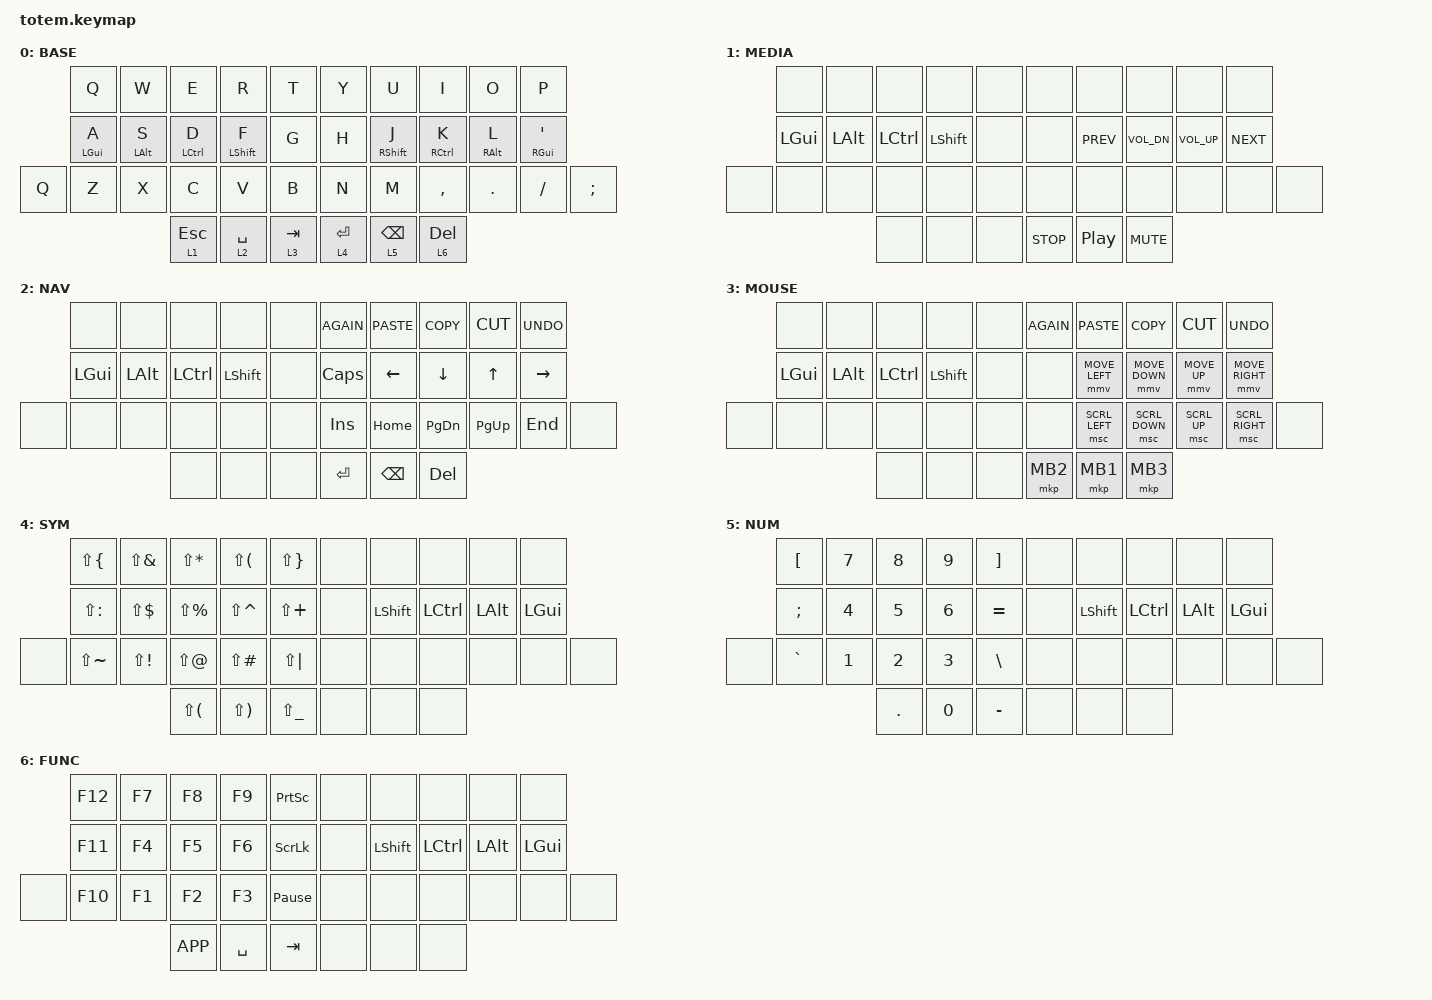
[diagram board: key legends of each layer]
//
//                                                        ▀▀▀▀▀     ▀▀▀▀▀          ▀▀█▀▀
//                                                        ▄▀▀▀▄  ▄  ▄▀▀▀▄  ▄  ▄▀▀▀▄  █  ▄▀▀▀▄
//                                                        █   █  █  █   █  █  █   █  █  █   █
//                                                         ▀▀▀   █   ▀▀▀   █   ▀▀▀   ▀   ▀▀▀
//                                                               █      ▄▄▄█▄▄▄    █   █  
//                                                               ▀      █  █  █     █▄█
//                                                             ▀▀▀▀▀    █  █  █      ▀
//                                                                      ▀  ▀  ▀
//
// ▄▄▄▄▄▄▄▄▄▄▄▄▄▄▄▄▄▄▄▄▄▄▄▄▄▄▄▄▄▄▄▄▄▄▄▄▄▄▄▄▄▄▄▄▄▄▄▄▄▄▄▄▄▄▄▄▄▄▄▄▄▄▄▄▄▄▄▄▄▄▄▄▄▄▄▄▄▄▄▄▄▄▄▄▄▄▄▄▄▄▄▄▄▄▄▄▄▄▄▄▄▄▄▄▄▄▄▄▄▄▄▄▄▄▄▄▄▄▄▄▄▄▄▄▄▄▄▄▄▄▄▄▄▄▄▄▄▄▄▄▄▄▄▄▄▄▄▄▄

#include <dt-bindings/zmk/mouse.h>
#include <behaviors.dtsi>
#include <dt-bindings/zmk/keys.h>

#define ZMK_MOUSE_DEFAULT_MOVE_VAL 1250  // 600
#define ZMK_MOUSE_DEFAULT_SCRL_VAL 100    // 10


&mmv {
    acceleration-exponent = <1>;      // 1
    time-to-max-speed-ms = <1500>;     // 300
    delay-ms = <0>;                   // 0
};

&mt { flavor = "balanced"; };

&msc {
    acceleration-exponent = <1>;      // 0
    time-to-max-speed-ms = <5000>;      // 300
    delay-ms = <0>;                   // 0
};

/ {
    combos {
        compatible = "zmk,combos";

        combo_esc {
            timeout-ms = <50>;
            key-positions = <0 1>;
            bindings = <&kp ESC>;
        };

        //            combo_tvp {
        //                timeout-ms = <100>;
        //                key-positions = <11 12 13>;
        //                bindings = <&tog TVP1>;
        //            };
    };

    macros {
        gif: gif {
            label = "giphy";
            compatible = "zmk,behavior-macro";
            #binding-cells = <0>;
            bindings =
                <&macro_press>,
                <&kp LSHFT>,
                <&macro_tap>,
                <&kp N2>,
                <&macro_release>,
                <&kp LSHFT>,
                <&macro_tap>,
                <&kp G &kp I &kp F>;
        };
    };

    keymap {
        compatible = "zmk,keymap";

        // ▄▄▄▄▄▄▄▄▄▄▄▄▄▄▄▄▄▄▄▄▄▄▄▄▄▄▄▄▄▄▄▄▄▄▄▄▄▄▄▄▄▄▄▄▄▄▄▄▄▄▄▄▄▄▄▄▄▄▄▄▄▄▄▄▄▄▄▄▄▄▄▄▄▄▄▄▄▄▄▄▄▄▄▄▄▄▄▄▄▄▄▄▄▄▄▄▄▄▄▄▄▄▄▄▄▄▄▄▄▄▄▄▄▄▄▄▄▄▄▄▄▄▄▄▄▄▄▄▄▄▄▄▄▄▄▄▄▄▄▄▄▄▄▄▄▄▄▄▄

        base_layer {
            // ┏━━━━━━━━━━━━━━━━━━━━━━━━━━━━━━━━━━━━━━━┓

            label = "BASE";

            // ┗━━━━━━━━━━━━━━━━━━━━━━━━━━━━━━━━━━━━━━━┛
            //             ┏━━━━━━━━━━━┳━━━━━━━━━━━┳━━━━━━━━━━━┳━━━━━━━━━━━┳━━━━━━━━━━━┓   ┏━━━━━━━━━━━┳━━━━━━━━━━━┳━━━━━━━━━━━┳━━━━━━━━━━━┳━━━━━━━━━━━┓
            //             ┃     Q     ┃     W     ┃     E     ┃     R     ┃     T     ┃   ┃     Y     ┃     U     ┃     I     ┃     O     ┃     P     ┃
            //             ┣━━━━━━━━━━━╋━━━━━━━━━━━╋━━━━━━━━━━━╋━━━━━━━━━━━╋━━━━━━━━━━━┫   ┣━━━━━━━━━━━╋━━━━━━━━━━━╋━━━━━━━━━━━╋━━━━━━━━━━━╋━━━━━━━━━━━┫
            //             ┃     A     ┃     S     ┃     D     ┃     F     ┃     G     ┃   ┃     H     ┃     J     ┃     K     ┃     L     ┃     ;     ┃
            // ┏━━━━━━━━━━━╋━━━━━━━━━━━╋━━━━━━━━━━━╋━━━━━━━━━━━╋━━━━━━━━━━━╋━━━━━━━━━━━┫   ┣━━━━━━━━━━━╋━━━━━━━━━━━╋━━━━━━━━━━━╋━━━━━━━━━━━╋━━━━━━━━━━━╋━━━━━━━━━━━┓
            // ┃     Q     ┃     Z     ┃     X     ┃     C     ┃     V     ┃     B     ┃   ┃     N     ┃     M     ┃     ,     ┃     .     ┃     /     ┃     \     ┃
            // ┗━━━━━━━━━━━┻━━━━━━━━━━━┻━━━━━━━━━━━╋━━━━━━━━━━━╋━━━━━━━━━━━╋━━━━━━━━━━━┫   ┣━━━━━━━━━━━╋━━━━━━━━━━━╋━━━━━━━━━━━╋━━━━━━━━━━━┻━━━━━━━━━━━┻━━━━━━━━━━━┛
            //                                     ┃  NAV/TAB  ┃    DEL    ┃    SPC    ┃   ┃   ENTER   ┃   BSPC    ┃  SYM/ESC  ┃
            //                                     ┗━━━━━━━━━━━┻━━━━━━━━━━━┻━━━━━━━━━━━┛   ┗━━━━━━━━━━━┻━━━━━━━━━━━┻━━━━━━━━━━━┛

            bindings = <
       &kp Q       &kp W       &kp E         &kp R        &kp T        &kp Y      &kp U            &kp I        &kp O       &kp P
       &mt LGUI A  &mt LALT S  &mt LCTRL D   &mt LSHFT F  &kp G        &kp H      &mt RSHFT J      &mt RCTRL K  &mt RALT L  &mt RGUI SQT
&kp Q  &kp Z       &kp X       &kp C         &kp V        &kp B        &kp N      &kp M            &kp COMMA    &kp DOT     &kp FSLH      &kp SEMICOLON
                               &lt 1 ESCAPE  &lt 2 SPACE  &lt 3 TAB    &lt 4 RET  &lt 5 BACKSPACE  &lt 6 DEL
            >;
        };

        // ▄▄▄▄▄▄▄▄▄▄▄▄▄▄▄▄▄▄▄▄▄▄▄▄▄▄▄▄▄▄▄▄▄▄▄▄▄▄▄▄▄▄▄▄▄▄▄▄▄▄▄▄▄▄▄▄▄▄▄▄▄▄▄▄▄▄▄▄▄▄▄▄▄▄▄▄▄▄▄▄▄▄▄▄▄▄▄▄▄▄▄▄▄▄▄▄▄▄▄▄▄▄▄▄▄▄▄▄▄▄▄▄▄▄▄▄▄▄▄▄▄▄▄▄▄▄▄▄▄▄▄▄▄▄▄▄▄▄▄▄▄▄▄▄▄▄▄▄▄
        // ▄▄▄▄▄▄▄▄▄▄▄▄▄▄▄▄▄▄▄▄▄▄▄▄▄▄▄▄▄▄▄▄▄▄▄▄▄▄▄▄▄▄▄▄▄▄▄▄▄▄▄▄▄▄▄▄▄▄▄▄▄▄▄▄▄▄▄▄▄▄▄▄▄▄▄▄▄▄▄▄▄▄▄▄▄▄▄▄▄▄▄▄▄▄▄▄▄▄▄▄▄▄▄▄▄▄▄▄▄▄▄▄▄▄▄▄▄▄▄▄▄▄▄▄▄▄▄▄▄▄▄▄▄▄▄▄▄▄▄▄▄▄▄▄▄▄▄▄▄
        // ▄▄▄▄▄▄▄▄▄▄▄▄▄▄▄▄▄▄▄▄▄▄▄▄▄▄▄▄▄▄▄▄▄▄▄▄▄▄▄▄▄▄▄▄▄▄▄▄▄▄▄▄▄▄▄▄▄▄▄▄▄▄▄▄▄▄▄▄▄▄▄▄▄▄▄▄▄▄▄▄▄▄▄▄▄▄▄▄▄▄▄▄▄▄▄▄▄▄▄▄▄▄▄▄▄▄▄▄▄▄▄▄▄▄▄▄▄▄▄▄▄▄▄▄▄▄▄▄▄▄▄▄▄▄▄▄▄▄▄▄▄▄▄▄▄▄▄▄▄
        // ▄▄▄▄▄▄▄▄▄▄▄▄▄▄▄▄▄▄▄▄▄▄▄▄▄▄▄▄▄▄▄▄▄▄▄▄▄▄▄▄▄▄▄▄▄▄▄▄▄▄▄▄▄▄▄▄▄▄▄▄▄▄▄▄▄▄▄▄▄▄▄▄▄▄▄▄▄▄▄▄▄▄▄▄▄▄▄▄▄▄▄▄▄▄▄▄▄▄▄▄▄▄▄▄▄▄▄▄▄▄▄▄▄▄▄▄▄▄▄▄▄▄▄▄▄▄▄▄▄▄▄▄▄▄▄▄▄▄▄▄▄▄▄▄▄▄▄▄▄
        // ▄▄▄▄▄▄▄▄▄▄▄▄▄▄▄▄▄▄▄▄▄▄▄▄▄▄▄▄▄▄▄▄▄▄▄▄▄▄▄▄▄▄▄▄▄▄▄▄▄▄▄▄▄▄▄▄▄▄▄▄▄▄▄▄▄▄▄▄▄▄▄▄▄▄▄▄▄▄▄▄▄▄▄▄▄▄▄▄▄▄▄▄▄▄▄▄▄▄▄▄▄▄▄▄▄▄▄▄▄▄▄▄▄▄▄▄▄▄▄▄▄▄▄▄▄▄▄▄▄▄▄▄▄▄▄▄▄▄▄▄▄▄▄▄▄▄▄▄▄

        Media {
            label = "MEDIA";
            bindings = <
       &none         &none         &none      &none           &none    &none       &none             &none         &none         &none
       &kp LEFT_GUI  &kp LEFT_ALT  &kp LCTRL  &kp LEFT_SHIFT  &none    &none       &kp C_PREV        &kp C_VOL_DN  &kp C_VOL_UP  &kp C_NEXT
&none  &none         &none         &none      &none           &none    &none       &none             &none         &none         &none       &none
                                   &none      &none           &none    &kp C_STOP  &kp C_PLAY_PAUSE  &kp C_MUTE
            >;
        };

        Nav {
            label = "NAV";
            bindings = <
       &none     &none     &none      &none      &none    &kp K_AGAIN   &kp K_PASTE  &kp K_COPY  &kp K_CUT  &kp K_UNDO
       &kp LGUI  &kp LALT  &kp LCTRL  &kp LSHFT  &none    &kp CAPSLOCK  &kp LEFT     &kp DOWN    &kp UP     &kp RIGHT
&none  &none     &none     &none      &none      &none    &kp INSERT    &kp HOME     &kp PG_DN   &kp PG_UP  &kp END     &none
                           &none      &none      &none    &kp RET       &kp BSPC     &kp DEL
            >;
        };

        Mouse {

            label = "MOUSE";
            bindings = <
       &none     &none     &none      &none      &none    &kp K_AGAIN  &kp K_PASTE     &kp K_COPY      &kp K_CUT     &kp K_UNDO
       &kp LGUI  &kp LALT  &kp LCTRL  &kp LSHFT  &none    &none        &mmv MOVE_LEFT  &mmv MOVE_DOWN  &mmv MOVE_UP  &mmv MOVE_RIGHT
&none  &none     &none     &none      &none      &none    &none        &msc SCRL_LEFT  &msc SCRL_DOWN  &msc SCRL_UP  &msc SCRL_RIGHT  &none
                           &none      &none      &none    &mkp MB2     &mkp MB1        &mkp MB3
            >;
        };

        Sym {
            label = "SYM";
            bindings = <
       &kp LS(LBRC)   &kp LS(AMPS)  &kp LS(STAR)   &kp LS(LPAR)   &kp LS(RBRC)     &none  &none      &none      &none     &none
       &kp LS(COLON)  &kp LS(DLLR)  &kp LS(PRCNT)  &kp LS(CARET)  &kp LS(PLUS)     &none  &kp LSHFT  &kp LCTRL  &kp LALT  &kp LGUI
&none  &kp LS(TILDE)  &kp LS(EXCL)  &kp LS(AT)     &kp LS(POUND)  &kp LS(PIPE)     &none  &none      &none      &none     &none     &none
                                    &kp LS(LPAR)   &kp LS(RPAR)   &kp LS(UNDER)    &none  &none      &none
            >;
        };

        Num {
            label = "NUM";
            bindings = <
       &kp LBKT   &kp N7  &kp N8   &kp N9  &kp RBKT     &none  &none      &none      &none     &none
       &kp SEMI   &kp N4  &kp N5   &kp N6  &kp EQUAL    &none  &kp LSHFT  &kp LCTRL  &kp LALT  &kp LGUI
&none  &kp GRAVE  &kp N1  &kp N2   &kp N3  &kp BSLH     &none  &none      &none      &none     &none     &none
                          &kp DOT  &kp N0  &kp MINUS    &none  &none      &none
            >;
        };

        Fun {
            label = "FUNC";
            bindings = <
       &kp F12  &kp F7  &kp F8     &kp F9     &kp PRINTSCREEN    &none  &none      &none      &none     &none
       &kp F11  &kp F4  &kp F5     &kp F6     &kp SCROLLLOCK     &none  &kp LSHFT  &kp LCTRL  &kp LALT  &kp LGUI
&none  &kp F10  &kp F1  &kp F2     &kp F3     &kp PAUSE_BREAK    &none  &none      &none      &none     &none     &none
                        &kp K_APP  &kp SPACE  &kp TAB            &none  &none      &none
            >;
        };
    };
};
